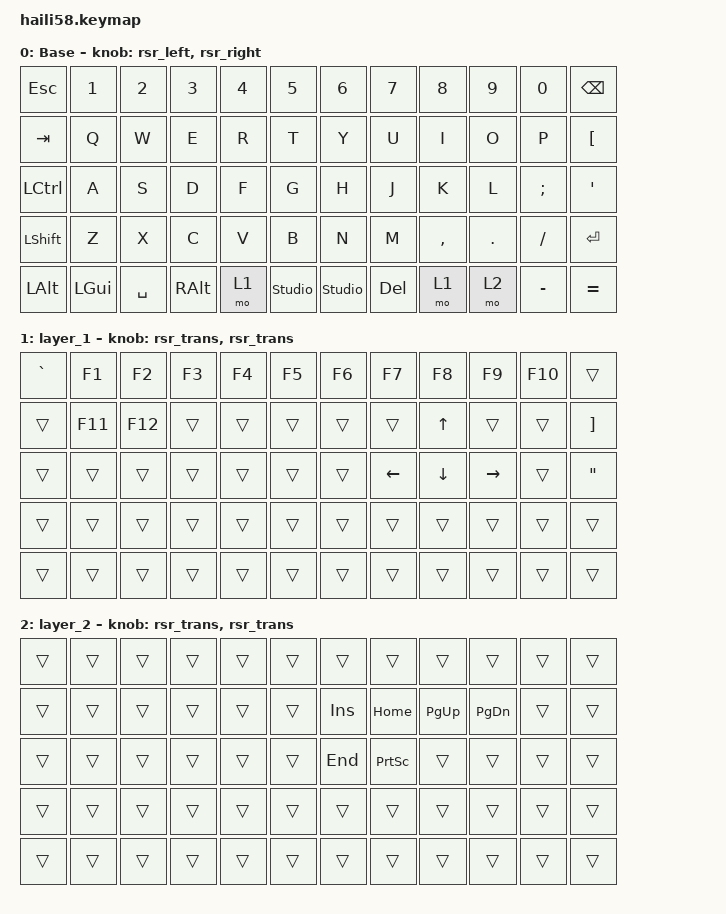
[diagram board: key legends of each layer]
#include <behaviors.dtsi>
#include <dt-bindings/zmk/keys.h>

// Runtime macros edited from DYA Studio are bound with `&rmacro <slot>`.
#include <behaviors/runtime_macro.dtsi>

// Runtime-configurable encoder bindings (DYA Studio keymap view -> click a
// knob -> "Rotary Encoder Configuration").
// The include also pulls in &rsr_trans: a sensor behavior with no default
// binding that still accepts a per-layer one at runtime.
#include <behaviors/runtime-sensor-rotate.dtsi>

/ {
    behaviors {
        // Left knob (sensor 0). Defaults are the ones this keyboard shipped
        // with, so nothing changes until someone edits them in Studio.
        rsr_left: rsr_left {
            compatible = "zmk,behavior-runtime-sensor-rotate";
            #sensor-binding-cells = <0>;
            cw-binding = <&kp C_VOL_UP>;
            ccw-binding = <&kp C_VOL_DN>;
        };

        // Right knob (sensor 1).
        rsr_right: rsr_right {
            compatible = "zmk,behavior-runtime-sensor-rotate";
            #sensor-binding-cells = <0>;
            cw-binding = <&kp UP>;
            ccw-binding = <&kp DOWN>;
        };
    };

    keymap {
        compatible = "zmk,keymap";

        default_layer {
            display-name = "Base";
            bindings = <
&kp ESC           &kp NUMBER_1  &kp NUMBER_2  &kp NUMBER_3   &kp NUMBER_4  &kp NUMBER_5        &kp NUMBER_6    &kp N7      &kp N8     &kp N9   &kp N0     &kp BACKSPACE
&kp TAB           &kp Q         &kp W         &kp E          &kp R         &kp T               &kp Y           &kp U       &kp I      &kp O    &kp P      &kp LBKT
&kp LEFT_CONTROL  &kp A         &kp S         &kp D          &kp F         &kp G               &kp H           &kp J       &kp K      &kp L    &kp SEMI   &kp APOS
&kp LEFT_SHIFT    &kp Z         &kp X         &kp C          &kp V         &kp B               &kp N           &kp M       &kp COMMA  &kp DOT  &kp FSLH   &kp ENTER
&kp LEFT_ALT      &kp LEFT_GUI  &kp SPACE     &kp RIGHT_ALT  &mo 1         &studio_unlock      &studio_unlock  &kp DELETE  &mo 1      &mo 2    &kp MINUS  &kp EQUAL
            >;

            // Order here is the sensor index: 0 = left knob, 1 = right knob.
            //
            // EVERY layer needs a sensor-bindings entry that points at a
            // runtime-sensor-rotate instance. A layer without one (or with
            // &trans) is skipped by the keymap, so Studio can happily save a
            // binding for it and nothing will ever happen.
            // &rsr_trans means "no default, but runtime-configurable".
            sensor-bindings = <&rsr_left &rsr_right>;
        };

        layer_1 {
            bindings = <
&kp GRAVE  &kp F1   &kp F2   &kp F3  &kp F4  &kp F5      &kp F6  &kp F7    &kp F8    &kp F9     &kp F10  &trans
&trans     &kp F11  &kp F12  &trans  &trans  &trans      &trans  &trans    &kp UP    &trans     &trans   &kp RBKT
&trans     &trans   &trans   &trans  &trans  &trans      &trans  &kp LEFT  &kp DOWN  &kp RIGHT  &trans   &kp DOUBLE_QUOTES
&trans     &trans   &trans   &trans  &trans  &trans      &trans  &trans    &trans    &trans     &trans   &trans
&trans     &trans   &trans   &trans  &trans  &trans      &trans  &trans    &trans    &trans     &trans   &trans
            >;

            // No default binding, but configurable from the Studio tab. Until
            // one is set the rotation falls through to the base layer.
            sensor-bindings = <&rsr_trans &rsr_trans>;
        };

        layer_2 {
            bindings = <
&trans  &trans  &trans  &trans  &trans  &trans      &trans   &trans           &trans       &trans         &trans  &trans
&trans  &trans  &trans  &trans  &trans  &trans      &kp INS  &kp HOME         &kp PAGE_UP  &kp PAGE_DOWN  &trans  &trans
&trans  &trans  &trans  &trans  &trans  &trans      &kp END  &kp PRINTSCREEN  &trans       &trans         &trans  &trans
&trans  &trans  &trans  &trans  &trans  &trans      &trans   &trans           &trans       &trans         &trans  &trans
&trans  &trans  &trans  &trans  &trans  &trans      &trans   &trans           &trans       &trans         &trans  &trans
            >;

            sensor-bindings = <&rsr_trans &rsr_trans>;
        };

        // Reserved layers are ignored by a normal build but become editable
        // from ZMK Studio / DYA Studio. See
        // https://zmk.dev/docs/features/studio#including-extra-layers
        //
        // They carry a runtime-sensor-rotate binding too, so that if one of
        // them is brought to life from Studio its knobs can be configured
        // instead of silently doing nothing.
        layer_3 {
            status = "reserved";
            sensor-bindings = <&rsr_trans &rsr_trans>;
        };

        layer_4 {
            status = "reserved";
            sensor-bindings = <&rsr_trans &rsr_trans>;
        };
    };
};
